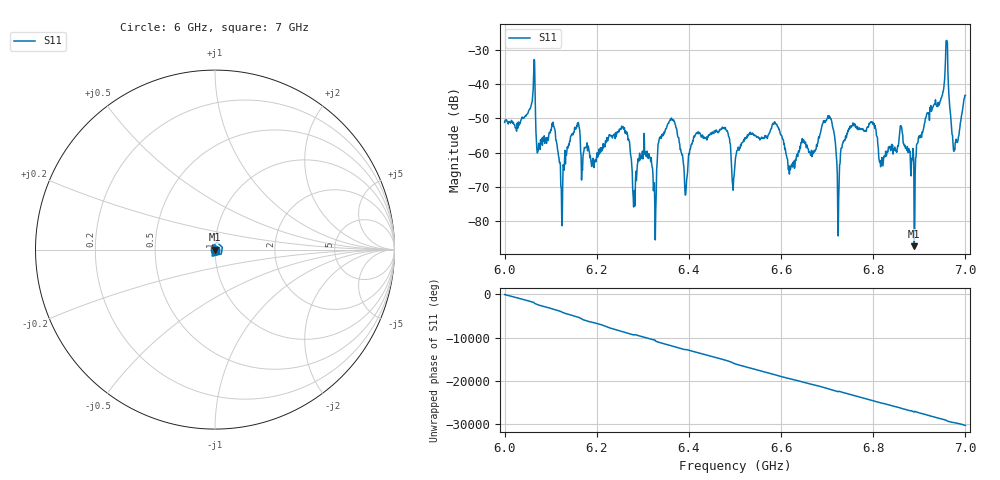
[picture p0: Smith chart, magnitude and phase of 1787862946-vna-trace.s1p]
! Created with skrf 1.10.0 (http://scikit-rf.org).
# Hz S RI R 50.0
!freq ReS11 ImS11
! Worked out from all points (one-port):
!   1001 points, 6 GHz to 7 GHz, reference 50 ohm
!   lowest |S11| = -87.3 dB at 6.889 GHz (marker M1), VSWR 1.00, Z = 50 - j0.00324 ohm
!   |S11| at or under -10 dB: start of sweep to end of sweep
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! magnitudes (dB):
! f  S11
! 6 GHz  -51.2
! 6.062 GHz  -41.6
! 6.073 GHz  -59.4
! 6.105 GHz  -51.2
! 6.125 GHz  -81.3
! 6.156 GHz  -52.4
! 6.193 GHz  -62.1
! 6.25 GHz  -53.3
! 6.267 GHz  -54.9
! 6.282 GHz  -71.0
! 6.304 GHz  -60.5
! 6.326 GHz  -76.2
! 6.338 GHz  -55.3
! 6.375 GHz  -54.8
! 6.393 GHz  -72.3
! 6.419 GHz  -54.1
! 6.478 GHz  -52.7
! 6.5 GHz  -63.6
! 6.586 GHz  -51.0
! 6.625 GHz  -64.2
! 6.704 GHz  -49.3
! 6.725 GHz  -73.7
! 6.75 GHz  -52.3
! 6.875 GHz  -59.3
! 6.889 GHz  -87.3
! 6.958 GHz  -27.5
! 6.976 GHz  -58.9
! 7 GHz  -43.3
